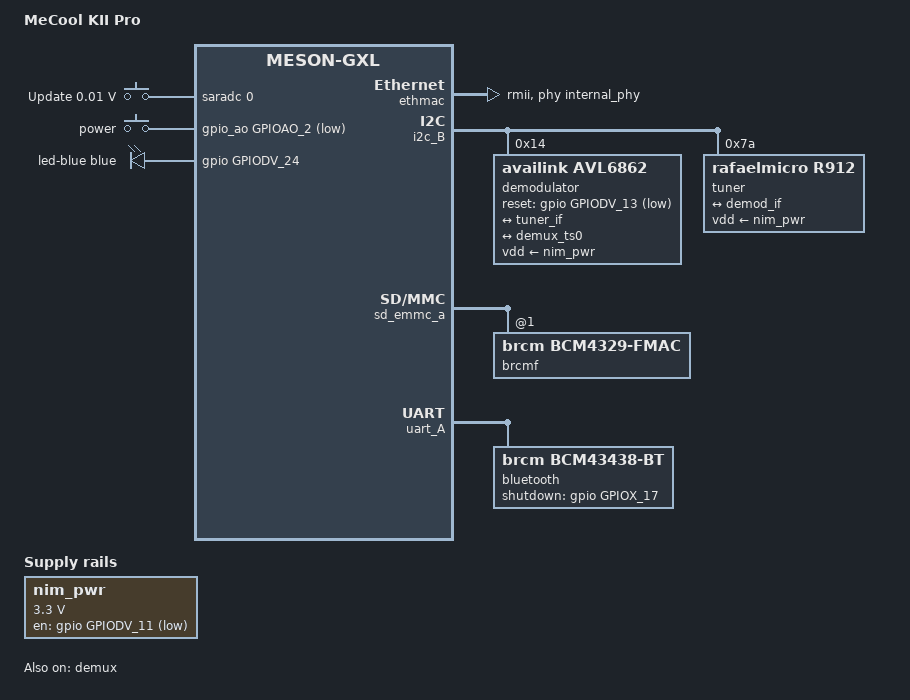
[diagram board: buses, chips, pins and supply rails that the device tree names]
// SPDX-License-Identifier: (GPL-2.0+ OR MIT)

/*
 * Author: Christian Hewitt <christianshewitt@gmail.com>
 */

/dts-v1/;

#include "meson-gxl-s905d.dtsi"
#include "meson-gx-p23x-q20x.dtsi"
#include <dt-bindings/input/input.h>
#include <dt-bindings/leds/common.h>

/ {
	compatible = "videostrong,gxl-kii-pro", "amlogic,s905d", "amlogic,meson-gxl";
	model = "MeCool KII Pro";

	adc-keys {
		compatible = "adc-keys";
		io-channels = <&saradc 0>;
		io-channel-names = "buttons";
		keyup-threshold-microvolt = <1710000>;

		button-function {
			label = "Update";
			linux,code = <KEY_VENDOR>;
			press-threshold-microvolt = <10000>;
		};
	};

	gpio-keys-polled {
		compatible = "gpio-keys-polled";
		poll-interval = <100>;

		button {
			label = "power";
			linux,code = <KEY_POWER>;
			gpios = <&gpio_ao GPIOAO_2 GPIO_ACTIVE_LOW>;
		};
	};

	leds {
		compatible = "gpio-leds";

		led-blue {
			color = <LED_COLOR_ID_BLUE>;
			function = LED_FUNCTION_POWER;
			gpios = <&gpio GPIODV_24 GPIO_ACTIVE_HIGH>;
			default-state = "on";
			panic-indicator;
		};
	};

	/* power of the DVB frontend, also needed for its reset line */
	nim_pwr: regulator-nim {
		compatible = "regulator-fixed";
		regulator-name = "NIM_PWR";
		regulator-min-microvolt = <3300000>;
		regulator-max-microvolt = <3300000>;
		gpio = <&gpio GPIODV_11 GPIO_ACTIVE_LOW>;
		regulator-always-on;
	};
};

/* TS0 (tsin_a), parallel */
&demux {
	pinctrl-0 = <&tsin_a_parallel_pins>;
	pinctrl-names = "default";
	status = "okay";

	ports {
		#address-cells = <1>;
		#size-cells = <0>;

		port@0 {
			reg = <0>;

			demux_ts0: endpoint {
				remote-endpoint = <&demod_ts>;
				bus-width = <8>;
			};
		};
	};
};

&ethmac {
	phy-mode = "rmii";
	phy-handle = <&internal_phy>;
};

&i2c_B {
	status = "okay";
	pinctrl-0 = <&i2c_b_pins>;
	pinctrl-names = "default";

	demodulator@14 {
		compatible = "availink,avl6862";
		reg = <0x14>;
		reset-gpios = <&gpio GPIODV_13 GPIO_ACTIVE_LOW>;
		/* orders the probe after the frontend power */
		vdd-supply = <&nim_pwr>;

		ports {
			#address-cells = <1>;
			#size-cells = <0>;

			port@0 {
				reg = <0>;

				demod_if: endpoint {
					remote-endpoint = <&tuner_if>;
				};
			};

			port@1 {
				reg = <1>;

				demod_ts: endpoint {
					remote-endpoint = <&demux_ts0>;
					bus-width = <8>;
				};
			};
		};
	};

	/* behind the I2C repeater of the demodulator */
	tuner@7a {
		compatible = "rafaelmicro,r912";
		reg = <0x7a>;
		vdd-supply = <&nim_pwr>;

		ports {
			#address-cells = <1>;
			#size-cells = <0>;

			port@1 {
				reg = <1>;

				tuner_if: endpoint {
					remote-endpoint = <&demod_if>;
				};
			};
		};
	};
};

&ir {
	linux,rc-map-name = "rc-mecool-kii-pro";
};

&sd_emmc_a {
	brcmf: wifi@1 {
		reg = <1>;
		compatible = "brcm,bcm4329-fmac";
	};
};

&uart_A {
	status = "okay";
	pinctrl-0 = <&uart_a_pins>, <&uart_a_cts_rts_pins>;
	pinctrl-names = "default";
	uart-has-rtscts;

	bluetooth {
		compatible = "brcm,bcm43438-bt";
		shutdown-gpios = <&gpio GPIOX_17 GPIO_ACTIVE_HIGH>;
		max-speed = <2000000>;
		clocks = <&wifi32k>;
		clock-names = "lpo";
	};
};
